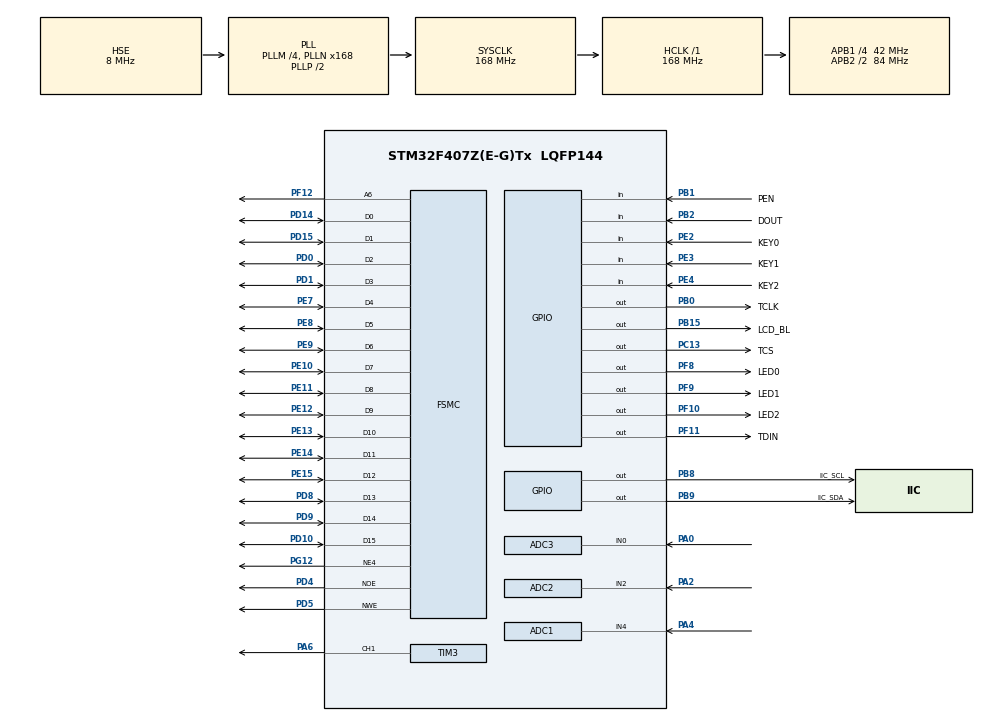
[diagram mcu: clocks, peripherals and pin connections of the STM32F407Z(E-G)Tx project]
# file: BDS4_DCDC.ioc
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ADC1.Channel-19\#ChannelRegularConversion=ADC_CHANNEL_4
ADC1.ClockPrescaler=ADC_CLOCK_SYNC_PCLK_DIV8
ADC1.ContinuousConvMode=ENABLE
ADC1.DMAContinuousRequests=ENABLE
ADC1.EOCSelection=ADC_EOC_SEQ_CONV
ADC1.ExternalTrigConv=ADC_EXTERNALTRIGCONV_T3_TRGO
ADC1.InjNumberOfConversion=0
ADC1.NbrOfConversion=1
ADC1.NbrOfConversionFlag=1
ADC1.Rank-19\#ChannelRegularConversion=1
ADC1.SamplingTime-19\#ChannelRegularConversion=ADC_SAMPLETIME_480CYCLES
ADC1.ScanConvMode=DISABLE
ADC1.master=1
ADC2.Channel-6\#ChannelRegularConversion=ADC_CHANNEL_2
ADC2.ClockPrescaler=ADC_CLOCK_SYNC_PCLK_DIV8
ADC2.DMAContinuousRequests=ENABLE
ADC2.EOCSelection=ADC_EOC_SEQ_CONV
ADC2.ExternalTrigConv=ADC_EXTERNALTRIGCONV_T3_TRGO
ADC2.NbrOfConversionFlag=1
ADC2.Rank-6\#ChannelRegularConversion=1
ADC2.SamplingTime-6\#ChannelRegularConversion=ADC_SAMPLETIME_480CYCLES
ADC3.Channel-9\#ChannelRegularConversion=ADC_CHANNEL_0
ADC3.ClockPrescaler=ADC_CLOCK_SYNC_PCLK_DIV8
ADC3.DMAContinuousRequests=ENABLE
ADC3.EOCSelection=ADC_EOC_SEQ_CONV
ADC3.ExternalTrigConv=ADC_EXTERNALTRIGCONV_T3_TRGO
ADC3.NbrOfConversionFlag=1
ADC3.Rank-9\#ChannelRegularConversion=1
ADC3.SamplingTime-9\#ChannelRegularConversion=ADC_SAMPLETIME_480CYCLES
Dma.ADC1.0.Direction=DMA_PERIPH_TO_MEMORY
Dma.ADC1.0.FIFOMode=DMA_FIFOMODE_DISABLE
Dma.ADC1.0.Instance=DMA2_Stream0
Dma.ADC1.0.MemDataAlignment=DMA_MDATAALIGN_HALFWORD
Dma.ADC1.0.MemInc=DMA_MINC_ENABLE
Dma.ADC1.0.Mode=DMA_CIRCULAR
Dma.ADC1.0.PeriphDataAlignment=DMA_PDATAALIGN_HALFWORD
Dma.ADC1.0.PeriphInc=DMA_PINC_DISABLE
Dma.ADC1.0.Priority=DMA_PRIORITY_LOW
Dma.ADC2.1.Direction=DMA_PERIPH_TO_MEMORY
Dma.ADC2.1.FIFOMode=DMA_FIFOMODE_DISABLE
Dma.ADC2.1.Instance=DMA2_Stream2
Dma.ADC2.1.MemDataAlignment=DMA_MDATAALIGN_HALFWORD
Dma.ADC2.1.MemInc=DMA_MINC_ENABLE
Dma.ADC2.1.Mode=DMA_CIRCULAR
Dma.ADC2.1.PeriphDataAlignment=DMA_PDATAALIGN_HALFWORD
Dma.ADC2.1.PeriphInc=DMA_PINC_DISABLE
Dma.ADC2.1.Priority=DMA_PRIORITY_LOW
Dma.ADC3.2.Direction=DMA_PERIPH_TO_MEMORY
Dma.ADC3.2.FIFOMode=DMA_FIFOMODE_DISABLE
Dma.ADC3.2.Instance=DMA2_Stream1
Dma.ADC3.2.MemDataAlignment=DMA_MDATAALIGN_HALFWORD
Dma.ADC3.2.MemInc=DMA_MINC_ENABLE
Dma.ADC3.2.Mode=DMA_CIRCULAR
Dma.ADC3.2.PeriphDataAlignment=DMA_PDATAALIGN_HALFWORD
Dma.ADC3.2.PeriphInc=DMA_PINC_DISABLE
Dma.ADC3.2.Priority=DMA_PRIORITY_LOW
Dma.Request0=ADC1
Dma.Request1=ADC2
Dma.Request2=ADC3
FSMC.BusTurnAroundDuration1=0
FSMC.DataSetupTime1=60
FSMC.ExtendedAddressSetupTime1=9
FSMC.ExtendedBusTurnAroundDuration1=0
FSMC.ExtendedDataSetupTime1=8
FSMC.ExtendedMode1=FSMC_EXTENDED_MODE_ENABLE
Mcu.Family=STM32F4
Mcu.Name=STM32F407Z(E-G)Tx
Mcu.Package=LQFP144
NVIC.DMA2_Stream0_IRQn=true\:0\:0\:false\:false\:true\:false\:true
NVIC.DMA2_Stream1_IRQn=true\:0\:0\:false\:false\:true\:false\:true
NVIC.DMA2_Stream2_IRQn=true\:0\:0\:false\:false\:true\:false\:true
NVIC.PriorityGroup=NVIC_PRIORITYGROUP_4
PA0-WKUP.Signal=ADCx_IN0
PA13.Mode=Serial_Wire
PA13.Signal=SYS_JTMS-SWDIO
PA14.Mode=Serial_Wire
PA14.Signal=SYS_JTCK-SWCLK
PA2.Signal=ADCx_IN2
PA4.Signal=ADCx_IN4
PA6.Signal=S_TIM3_CH1
PB0.GPIO_Label=TCLK
PB0.GPIO_PuPd=GPIO_PULLUP
PB0.GPIO_Speed=GPIO_SPEED_FREQ_VERY_HIGH
PB0.Signal=GPIO_Output
PB1.GPIO_Label=PEN
PB1.GPIO_PuPd=GPIO_PULLUP
PB1.Signal=GPIO_Input
PB15.GPIO_Label=LCD_BL
PB15.GPIO_PuPd=GPIO_PULLUP
PB15.GPIO_Speed=GPIO_SPEED_FREQ_MEDIUM
PB15.Signal=GPIO_Output
PB2.GPIO_Label=DOUT
PB2.GPIO_PuPd=GPIO_PULLUP
PB2.Signal=GPIO_Input
PB8.GPIO_Label=IIC_SCL
PB8.GPIO_PuPd=GPIO_PULLUP
PB8.GPIO_Speed=GPIO_SPEED_FREQ_VERY_HIGH
PB8.Signal=GPIO_Output
PB9.GPIO_Label=IIC_SDA
PB9.GPIO_PuPd=GPIO_PULLUP
PB9.GPIO_Speed=GPIO_SPEED_FREQ_VERY_HIGH
PB9.Signal=GPIO_Output
PC13-ANTI_TAMP.GPIO_Label=TCS
PC13-ANTI_TAMP.Signal=GPIO_Output
PD0.Signal=FSMC_D2_DA2
PD1.Signal=FSMC_D3_DA3
PD10.Signal=FSMC_D15_DA15
PD14.Signal=FSMC_D0_DA0
PD15.Signal=FSMC_D1_DA1
PD4.Signal=FSMC_NOE
PD5.Signal=FSMC_NWE
PD8.Signal=FSMC_D13_DA13
PD9.Signal=FSMC_D14_DA14
PE10.Signal=FSMC_D7_DA7
PE11.Signal=FSMC_D8_DA8
PE12.Signal=FSMC_D9_DA9
PE13.Signal=FSMC_D10_DA10
PE14.Signal=FSMC_D11_DA11
PE15.Signal=FSMC_D12_DA12
PE2.GPIO_Label=KEY0
PE2.GPIO_PuPd=GPIO_PULLUP
PE2.Signal=GPIO_Input
PE3.GPIO_Label=KEY1
PE3.GPIO_PuPd=GPIO_PULLUP
PE3.Signal=GPIO_Input
PE4.GPIO_Label=KEY2
PE4.GPIO_PuPd=GPIO_PULLUP
PE4.Signal=GPIO_Input
PE7.Signal=FSMC_D4_DA4
PE8.Signal=FSMC_D5_DA5
PE9.Signal=FSMC_D6_DA6
PF10.GPIO_Label=LED2
PF10.GPIO_PuPd=GPIO_PULLUP
PF10.GPIO_Speed=GPIO_SPEED_FREQ_VERY_HIGH
PF10.Signal=GPIO_Output
PF11.GPIO_Label=TDIN
PF11.GPIO_Speed=GPIO_SPEED_FREQ_VERY_HIGH
PF11.Signal=GPIO_Output
PF12.Signal=FSMC_A6
PF8.GPIO_Label=LED0
PF8.GPIO_PuPd=GPIO_PULLUP
PF8.GPIO_Speed=GPIO_SPEED_FREQ_VERY_HIGH
PF8.Signal=GPIO_Output
PF9.GPIO_Label=LED1
PF9.GPIO_PuPd=GPIO_PULLUP
PF9.GPIO_Speed=GPIO_SPEED_FREQ_VERY_HIGH
PF9.Signal=GPIO_Output
PG12.Mode=NorPsramChipSelect4_1
PG12.Signal=FSMC_NE4
PH0-OSC_IN.Mode=HSE-External-Oscillator
PH0-OSC_IN.Signal=RCC_OSC_IN
PH1-OSC_OUT.Mode=HSE-External-Oscillator
PH1-OSC_OUT.Signal=RCC_OSC_OUT
ProjectManager.HeapSize=0x200
ProjectManager.StackSize=0x400
ProjectManager.TargetToolchain=STM32CubeIDE
RCC.48MHZClocksFreq_Value=84000000
RCC.AHBFreq_Value=168000000
RCC.APB1CLKDivider=RCC_HCLK_DIV4
RCC.APB1Freq_Value=42000000
RCC.APB1TimFreq_Value=84000000
RCC.APB2CLKDivider=RCC_HCLK_DIV2
RCC.APB2Freq_Value=84000000
RCC.APB2TimFreq_Value=168000000
RCC.CortexFreq_Value=168000000
RCC.EnbaleCSS=true
RCC.HCLKFreq_Value=168000000
RCC.HSE_VALUE=8000000
RCC.HSI_VALUE=16000000
RCC.LSE_VALUE=32768
RCC.PLLM=4
RCC.PLLN=168
RCC.PLLSourceVirtual=RCC_PLLSOURCE_HSE
RCC.SYSCLKFreq_VALUE=168000000
RCC.SYSCLKSource=RCC_SYSCLKSOURCE_PLLCLK
RCC.VCOOutputFreq_Value=336000000
SH.ADCx_IN0.0=ADC3_IN0,IN0
SH.ADCx_IN2.0=ADC2_IN2,IN2
SH.ADCx_IN4.0=ADC1_IN4,IN4
SH.FSMC_A6.0=FSMC_A6,A6_1
SH.FSMC_D0_DA0.0=FSMC_D0,16b-d1
SH.FSMC_D10_DA10.0=FSMC_D10,16b-d1
SH.FSMC_D11_DA11.0=FSMC_D11,16b-d1
SH.FSMC_D12_DA12.0=FSMC_D12,16b-d1
SH.FSMC_D13_DA13.0=FSMC_D13,16b-d1
SH.FSMC_D14_DA14.0=FSMC_D14,16b-d1
SH.FSMC_D15_DA15.0=FSMC_D15,16b-d1
SH.FSMC_D1_DA1.0=FSMC_D1,16b-d1
SH.FSMC_D2_DA2.0=FSMC_D2,16b-d1
SH.FSMC_D3_DA3.0=FSMC_D3,16b-d1
SH.FSMC_D4_DA4.0=FSMC_D4,16b-d1
SH.FSMC_D5_DA5.0=FSMC_D5,16b-d1
SH.FSMC_D6_DA6.0=FSMC_D6,16b-d1
SH.FSMC_D7_DA7.0=FSMC_D7,16b-d1
SH.FSMC_D8_DA8.0=FSMC_D8,16b-d1
SH.FSMC_D9_DA9.0=FSMC_D9,16b-d1
SH.FSMC_NOE.0=FSMC_NOE,Lcd1
SH.FSMC_NWE.0=FSMC_NWE,Lcd1
SH.S_TIM3_CH1.0=TIM3_CH1,PWM Generation1 CH1
STMicroelectronics.X-CUBE-ALGOBUILD.1.2.1.LibraryCcDSPOoLibraryJjDSPOoLibrary=true
TIM3.AutoReloadPreload=TIM_AUTORELOAD_PRELOAD_DISABLE
TIM3.Channel-PWM\ Generation1\ CH1=TIM_CHANNEL_1
TIM3.OCFastMode_PWM-PWM\ Generation1\ CH1=TIM_OCFAST_ENABLE
TIM3.OCPolarity_1=TIM_OCPOLARITY_HIGH
TIM3.Period=840-1
TIM3.Prescaler=5-1
TIM3.Pulse-PWM\ Generation1\ CH1=420
TIM3.TIM_MasterOutputTrigger=TIM_TRGO_UPDATE
VP_STMicroelectronics.X-CUBE-ALGOBUILD_VS_DSPOoLibraryJjLibrary_1.2.1_1.2.1.Mode=DSPOoLibraryJjLibrary
VP_TIM3_VS_ClockSourceINT.Mode=Internal
board=custom

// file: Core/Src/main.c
/* USER CODE BEGIN Header */
/**
  ******************************************************************************
  * @file           : main.c
  * @brief          : Main program body
  ******************************************************************************
  * @attention
  *
  * <h2><center>&copy; Copyright (c) 2021 STMicroelectronics.
  * All rights reserved.</center></h2>
  *
  * This software component is licensed by ST under BSD 3-Clause license,
  * the "License"; You may not use this file except in compliance with the
  * License. You may obtain a copy of the License at:
  *                        opensource.org/licenses/BSD-3-Clause
  *
  ******************************************************************************
  */
/* USER CODE END Header */
#include "main.h"

/* USER CODE BEGIN Includes */
#include "lcd.h"
#include "obase.h"
/* USER CODE END Includes */

/* USER CODE BEGIN PTD */
enum
{
	Manual=1, AutoCharge, AutoDischarge
} MainMode;

enum
{
	VoltageRegulation=1, CurrentRegulator, Control
} SubMode;

typedef struct PID
{
  float kp;
  float ki;
  float kd;
  float ek;     //当前误差
  float ek_1;   //上一次误�????
  float ek_2;   //上上�????次误�????
  float limit;  //限幅
  float res;  //限幅
}PID;
/* USER CODE END PTD */

/* USER CODE BEGIN PD */
#define ADCTIMES 	100		//ADC采样次数
#define PIDTIME 	1		//ADC采样次数
/* USER CODE END PD */

ADC_HandleTypeDef hadc1;
ADC_HandleTypeDef hadc2;
ADC_HandleTypeDef hadc3;
DMA_HandleTypeDef hdma_adc1;
DMA_HandleTypeDef hdma_adc2;
DMA_HandleTypeDef hdma_adc3;

TIM_HandleTypeDef htim3;

SRAM_HandleTypeDef hsram1;

/* USER CODE BEGIN PV */

float ToV1=8.2;
float ToV2=11.76;
float ToC=1.77;

uint32_t Voltage_Behind=0;
uint32_t Voltage_Front=0;
uint32_t Current=0;

uint16_t Voltage_Behind_DMA[ADCTIMES];
uint16_t Voltage_Front_DMA[ADCTIMES];
uint16_t Current_DMA[ADCTIMES];

float Target=0;
float Encoder=0;

uint32_t t=0;//延迟变化

uint8_t var = 0;//循环变量

uint8_t pressdown = 0;//长按监测

uint16_t Pwm = 420;//pwm计数懂得�???

uint8_t flag = 0;//s初次状�?�指�????

//PID
static PID pid;

/* USER CODE END PV */

void SystemClock_Config(void);
static void MX_GPIO_Init(void);
static void MX_DMA_Init(void);
static void MX_ADC1_Init(void);
static void MX_FSMC_Init(void);
static void MX_TIM3_Init(void);
static void MX_ADC2_Init(void);
static void MX_ADC3_Init(void);
/* USER CODE BEGIN PFP */
void SubDisplay(uint8_t i,uint16_t c);
void MainDisplay(uint8_t i,uint16_t c);
void PwmDisplay(uint16_t dp_pwm,uint16_t c);
void UnDisplay();
void PID_Init(int i);
float PID_Increase(int Encoder,int Target);
/* USER CODE END PFP */

int main(void)
{

  /* MCU Configuration--------------------------------------------------------*/

  /* Reset of all peripherals, Initializes the Flash interface and the Systick. */
  HAL_Init();

  /* Configure the system clock */
  SystemClock_Config();

  /* Initialize all configured peripherals */
  MX_GPIO_Init();
  MX_DMA_Init();
  MX_ADC1_Init();
  MX_FSMC_Init();
  MX_TIM3_Init();
  MX_ADC2_Init();
  MX_ADC3_Init();
  /* USER CODE BEGIN 2 */
  LCD_Init();
  tp_dev.init();
  POINT_COLOR=RED;
  HAL_TIM_PWM_Start(&htim3, TIM_CHANNEL_1);
  HAL_ADC_Start_DMA(&hadc3, (uint32_t*)&Voltage_Front_DMA[0], ADCTIMES);
  HAL_ADC_Start_DMA(&hadc2, (uint32_t*)&Voltage_Behind_DMA[0], ADCTIMES);
  HAL_ADC_Start_DMA(&hadc1, (uint32_t*)&Current_DMA[0], ADCTIMES);

  /* USER CODE END 2 */

  /* Infinite loop */
  /* USER CODE BEGIN WHILE */
  HAL_GPIO_WritePin(LED0_GPIO_Port, LED0_Pin, GPIO_PIN_SET);
  HAL_GPIO_WritePin(LED1_GPIO_Port, LED1_Pin, GPIO_PIN_SET);
  HAL_GPIO_WritePin(LED2_GPIO_Port, LED2_Pin, GPIO_PIN_SET);

  LCD_ShowString(15,90,48,16,16,(uint8_t*)"MAIN^");
  LCD_ShowString(15,135,48,16,16,(uint8_t*)"SUB>");

  MainMode=Manual;
  SubMode=Control;
  MainDisplay(1,GREEN);
  MainDisplay(2,YELLOW);
  MainDisplay(3,YELLOW);
  SubDisplay(1,YELLOW);
  SubDisplay(2,YELLOW);
  PwmDisplay(Pwm,YELLOW);
  LCD_ShowString(15,160,90,16,16,(uint8_t*)">Vf: >To");
  LCD_ShowString(15,200,90,16,16,(uint8_t*)">Vb: >To");
  LCD_ShowString(15,240,90,16,16,(uint8_t*)">C:  >To");
  LCD_ShowString(15,280,90,16,16,(uint8_t*)">Pwm: ");
  LCD_DrawLine(0,155,320,155);

  while (1)
  {
    /* USER CODE END WHILE */

    /* USER CODE BEGIN 3 */

	  //DAC采集

		HAL_Delay(10);
		for (var = 0,Voltage_Front = 0; var < ADCTIMES; ++var) {
				Voltage_Front += Voltage_Front_DMA[var];
		}
			Voltage_Front /= ADCTIMES;
			LCD_ShowNum(90,163,Voltage_Front,4,16);

		HAL_Delay(10);
		for (var = 0,Voltage_Behind = 0; var < ADCTIMES; ++var) {
				Voltage_Behind += Voltage_Behind_DMA[var];
		}
			Voltage_Behind /= ADCTIMES;
			LCD_ShowNum(90,203,Voltage_Behind,4,16);

		HAL_Delay(10);
		for (var = 0,Current = 0; var < ADCTIMES; ++var) {
				Current += Current_DMA[var];
		}
			Current /= ADCTIMES;
			LCD_ShowNum(90,243,Current,4,16);

		//模式切换
	  tp_dev.scan(0);
	  //LCD_DrawPoint(tp_dev.x[0],tp_dev.y[0]);//触控测试
	  if(tp_dev.sta & TP_PRES_DOWN)
	  {

		  if(tp_dev.x[0]>15&&tp_dev.y[0]>15&&tp_dev.x[0]<75&&tp_dev.y[0]<75){
			  MainMode=Manual;
			  SubMode=Control;
			  MainDisplay(1,GREEN);
			  MainDisplay(2,YELLOW);
			  MainDisplay(3,YELLOW);
			  SubDisplay(1,YELLOW);
			  SubDisplay(2,YELLOW);
		  }
		  else if(tp_dev.x[0]>90&&tp_dev.y[0]>15&&tp_dev.x[0]<150&&tp_dev.y[0]<75){
			  MainMode=AutoCharge;
			  flag=0;
			  MainDisplay(1,YELLOW);
			  MainDisplay(2,GREEN);
			  MainDisplay(3,YELLOW);
			  SubDisplay(1,GRAY);
			  SubDisplay(2,GRAY);
		  }
		  else if(tp_dev.x[0]>165&&tp_dev.y[0]>15&&tp_dev.x[0]<225&&tp_dev.y[0]<75){
			  MainMode=AutoDischarge;
			  flag=0;
			  MainDisplay(1,YELLOW);
			  MainDisplay(2,YELLOW);
			  MainDisplay(3,GREEN);
			  SubDisplay(1,GRAY);
			  SubDisplay(2,GRAY);
		  }
		  else if(MainMode==Manual&&pressdown==0&&tp_dev.x[0]>90&&tp_dev.y[0]>90&&tp_dev.x[0]<150&&tp_dev.y[0]<150){
			  if(SubMode==VoltageRegulation)
			  {
				  SubMode=Control;
				  SubDisplay(1,YELLOW);
				  SubDisplay(2,YELLOW);
			  }
			  else
			  {
				  SubMode=VoltageRegulation;
				  flag=0;
				  SubDisplay(1,GREEN);
				  SubDisplay(2,YELLOW);
			  }
		  }
		  else if(MainMode==Manual&&pressdown==0&&tp_dev.x[0]>165&&tp_dev.y[0]>90&&tp_dev.x[0]<225&&tp_dev.y[0]<150){
			  if(SubMode==CurrentRegulator)
			  {
				  SubMode=Control;
				  SubDisplay(1,YELLOW);
				  SubDisplay(2,YELLOW);
			  }
			  else
			  {
				  SubMode=CurrentRegulator;
				  flag=0;
				  SubDisplay(1,YELLOW);
				  SubDisplay(2,GREEN);
			  }
		  }
		  else if(MainMode==Manual&&SubMode==Control&&tp_dev.x[0]>75&&tp_dev.y[0]>265&&tp_dev.x[0]<240&&tp_dev.y[0]<285)
		  {
			  if(tp_dev.x[0]>225) Pwm=840;
			  else if(tp_dev.x[0]<90) Pwm=0;
			  else Pwm = 840.0*((tp_dev.x[0]-90.0)/135.0);
			  TIM3->CCR1 = Pwm;//手动修改pwm占空�????

		  }

		  pressdown=1;

	  }else {pressdown=0;}

	  //Pwm显示
	  if(MainMode==Manual&&SubMode==Control&&(pressdown==0))
	  	{
		  PwmDisplay(Pwm,YELLOW);
		  BACK_COLOR=YELLOW;
		  LCD_ShowNum(100,283,Pwm*100/840,3,16);
		  BACK_COLOR=WHITE;
	  	}
	  else if(MainMode==Manual&&SubMode==Control&&tp_dev.x[0]>75&&tp_dev.y[0]>265&&tp_dev.x[0]<240&&tp_dev.y[0]<285)
	  	 {
		  PwmDisplay(Pwm,GREEN);
		  BACK_COLOR=GREEN;
		  LCD_ShowNum(100,283,Pwm*100/840,3,16);
		  BACK_COLOR=WHITE;
	  	 }
	  else if(MainMode!=Manual||SubMode!=Control)
	  	 {
		  PwmDisplay(Pwm,GRAY);
		  BACK_COLOR=GRAY;
		  LCD_ShowNum(100,283,Pwm*100/840,3,16);
		  BACK_COLOR=WHITE;
	  	 }
	  else{

	  	  }

	  //分模式控�????(PID)
	  if(MainMode==Manual&&SubMode==VoltageRegulation)
	  {
		  if(Current<(((ToC)/3.3)*4096))
		  {
			  PID_Init(1);
			  if(flag==0){Pwm=420;flag=1;}
			  Encoder=Voltage_Behind;
			  Target=(((ToV1/4)/3.3)*4096);
			  Pwm += PID_Increase(Encoder,Target);
			  if(Pwm>835)Pwm=835;
			  else if(Pwm<0)Pwm=0;
			  else{};
			  TIM3->CCR1 = Pwm;//PID改pwm
		  }
		  else
		  {
			  PID_Init(2);
			  if(flag==0){Pwm=420;flag=1;}
			  Encoder=Current;
			  Target=(((ToC)/3.3)*4096);
			  Pwm += PID_Increase(Encoder,Target);
			  if(Pwm>835)Pwm=835;
			  else if(Pwm<0)Pwm=0;
			  else{};
			  TIM3->CCR1 = Pwm;//PID改pwm
		  }
	  }

	  else if(MainMode==Manual&&SubMode==CurrentRegulator)
	  {
		  if(Voltage_Behind>(((ToV1/4)/3.3)*4096))
		  {
			  PID_Init(2);
			  if(flag==0){Pwm=420;flag=1;}
			  Encoder=Current;
			  Target=(((ToC)/3.3)*4096);
			  Pwm += PID_Increase(Encoder,Target);
			  if(Pwm>835)Pwm=835;
			  else if(Pwm<0)Pwm=0;
			  else{};
			  TIM3->CCR1 = Pwm;//PID改pwm
		  }
		  else
		  {

		  }
	  }

	  else if(MainMode==AutoCharge)
	  {
		  if(Current>340)//�??�??
		  {

			  if(Voltage_Behind<(((ToV1/4)/3.3)*4096))//横流
			  {
				  MainDisplay(2,GREEN);
				  PID_Init(2);
				  if(flag==0){Pwm=420;flag=1;}
				  Encoder=Current;
				  Target=(((ToC)/3.3)*4096);
				  Pwm += PID_Increase(Encoder,Target);
				  if(Pwm>835)Pwm=835;
				  else if(Pwm<0)Pwm=0;
				  else{};
				  TIM3->CCR1 = Pwm;//PID改pwm
			  }
			  else if(Voltage_Behind>(((ToV1/4)/3.3)*4096))//恒压
			  {
				  MainDisplay(2,CYAN);
				  PID_Init(1);
				  if(flag==0){Pwm=420;flag=1;}
				  Encoder=Voltage_Behind;
				  Target=(((ToV1/4)/3.3)*4096);
				  Pwm += PID_Increase(Encoder,Target);
				  if(Pwm>835)Pwm=835;
				  else if(Pwm<0)Pwm=0;
				  else{};
				  TIM3->CCR1 = Pwm;//PID改pwm
			  }
		  }
		  else if(Current<340&&Voltage_Behind>(((ToV1/4)/3.3)*4096))
		  {//冲完
			  MainDisplay(2,BLUE);
		  }

	  }

	  else if(MainMode==AutoDischarge)
	  {
		  if(1)
		  {
			  PID_Init(1);
			  if(flag==0){Pwm=840;flag=1;}
			  Encoder=Voltage_Front;
			  Target=(((ToV2/4)/3.3)*4096);
			  Pwm -= PID_Increase(Encoder,Target);
			  if(Pwm>835)Pwm=835;
			  else if(Pwm<420)Pwm=420;
			  else{};
			  TIM3->CCR1 = Pwm;//PID改pwm
		  }
	  }

  }
  /* USER CODE END 3 */
}

void SystemClock_Config(void)
{
  RCC_OscInitTypeDef RCC_OscInitStruct = {0};
  RCC_ClkInitTypeDef RCC_ClkInitStruct = {0};

  /** Configure the main internal regulator output voltage
  */
  __HAL_RCC_PWR_CLK_ENABLE();
  __HAL_PWR_VOLTAGESCALING_CONFIG(PWR_REGULATOR_VOLTAGE_SCALE1);
  /** Initializes the RCC Oscillators according to the specified parameters
  * in the RCC_OscInitTypeDef structure.
  */
  RCC_OscInitStruct.OscillatorType = RCC_OSCILLATORTYPE_HSE;
  RCC_OscInitStruct.HSEState = RCC_HSE_ON;
  RCC_OscInitStruct.PLL.PLLState = RCC_PLL_ON;
  RCC_OscInitStruct.PLL.PLLSource = RCC_PLLSOURCE_HSE;
  RCC_OscInitStruct.PLL.PLLM = 4;
  RCC_OscInitStruct.PLL.PLLN = 168;
  RCC_OscInitStruct.PLL.PLLP = RCC_PLLP_DIV2;
  RCC_OscInitStruct.PLL.PLLQ = 4;
  if (HAL_RCC_OscConfig(&RCC_OscInitStruct) != HAL_OK)
  {
    Error_Handler();
  }
  /** Initializes the CPU, AHB and APB buses clocks
  */
  RCC_ClkInitStruct.ClockType = RCC_CLOCKTYPE_HCLK|RCC_CLOCKTYPE_SYSCLK
                              |RCC_CLOCKTYPE_PCLK1|RCC_CLOCKTYPE_PCLK2;
  RCC_ClkInitStruct.SYSCLKSource = RCC_SYSCLKSOURCE_PLLCLK;
  RCC_ClkInitStruct.AHBCLKDivider = RCC_SYSCLK_DIV1;
  RCC_ClkInitStruct.APB1CLKDivider = RCC_HCLK_DIV4;
  RCC_ClkInitStruct.APB2CLKDivider = RCC_HCLK_DIV2;

  if (HAL_RCC_ClockConfig(&RCC_ClkInitStruct, FLASH_LATENCY_5) != HAL_OK)
  {
    Error_Handler();
  }
  /** Enables the Clock Security System
  */
  HAL_RCC_EnableCSS();
}

static void MX_ADC1_Init(void)
{

  ADC_ChannelConfTypeDef sConfig = {0};

  /** Configure the global features of the ADC (Clock, Resolution, Data Alignment and number of conversion)
  */
  hadc1.Instance = ADC1;
  hadc1.Init.ClockPrescaler = ADC_CLOCK_SYNC_PCLK_DIV8;
  hadc1.Init.Resolution = ADC_RESOLUTION_12B;
  hadc1.Init.ScanConvMode = DISABLE;
  hadc1.Init.ContinuousConvMode = ENABLE;
  hadc1.Init.DiscontinuousConvMode = DISABLE;
  hadc1.Init.ExternalTrigConvEdge = ADC_EXTERNALTRIGCONVEDGE_RISING;
  hadc1.Init.ExternalTrigConv = ADC_EXTERNALTRIGCONV_T3_TRGO;
  hadc1.Init.DataAlign = ADC_DATAALIGN_RIGHT;
  hadc1.Init.NbrOfConversion = 1;
  hadc1.Init.DMAContinuousRequests = ENABLE;
  hadc1.Init.EOCSelection = ADC_EOC_SEQ_CONV;
  if (HAL_ADC_Init(&hadc1) != HAL_OK)
  {
    Error_Handler();
  }
  /** Configure for the selected ADC regular channel its corresponding rank in the sequencer and its sample time.
  */
  sConfig.Channel = ADC_CHANNEL_4;
  sConfig.Rank = 1;
  sConfig.SamplingTime = ADC_SAMPLETIME_480CYCLES;
  if (HAL_ADC_ConfigChannel(&hadc1, &sConfig) != HAL_OK)
  {
    Error_Handler();
  }

}

static void MX_ADC2_Init(void)
{

  ADC_ChannelConfTypeDef sConfig = {0};

  /** Configure the global features of the ADC (Clock, Resolution, Data Alignment and number of conversion)
  */
  hadc2.Instance = ADC2;
  hadc2.Init.ClockPrescaler = ADC_CLOCK_SYNC_PCLK_DIV8;
  hadc2.Init.Resolution = ADC_RESOLUTION_12B;
  hadc2.Init.ScanConvMode = DISABLE;
  hadc2.Init.ContinuousConvMode = ENABLE;
  hadc2.Init.DiscontinuousConvMode = DISABLE;
  hadc2.Init.ExternalTrigConvEdge = ADC_EXTERNALTRIGCONVEDGE_RISING;
  hadc2.Init.ExternalTrigConv = ADC_EXTERNALTRIGCONV_T3_TRGO;
  hadc2.Init.DataAlign = ADC_DATAALIGN_RIGHT;
  hadc2.Init.NbrOfConversion = 1;
  hadc2.Init.DMAContinuousRequests = ENABLE;
  hadc2.Init.EOCSelection = ADC_EOC_SEQ_CONV;
  if (HAL_ADC_Init(&hadc2) != HAL_OK)
  {
    Error_Handler();
  }
  /** Configure for the selected ADC regular channel its corresponding rank in the sequencer and its sample time.
  */
  sConfig.Channel = ADC_CHANNEL_2;
  sConfig.Rank = 1;
  sConfig.SamplingTime = ADC_SAMPLETIME_480CYCLES;
  if (HAL_ADC_ConfigChannel(&hadc2, &sConfig) != HAL_OK)
  {
    Error_Handler();
  }

}

static void MX_ADC3_Init(void)
{

  ADC_ChannelConfTypeDef sConfig = {0};

  /** Configure the global features of the ADC (Clock, Resolution, Data Alignment and number of conversion)
  */
  hadc3.Instance = ADC3;
  hadc3.Init.ClockPrescaler = ADC_CLOCK_SYNC_PCLK_DIV8;
  hadc3.Init.Resolution = ADC_RESOLUTION_12B;
  hadc3.Init.ScanConvMode = DISABLE;
  hadc3.Init.ContinuousConvMode = ENABLE;
  hadc3.Init.DiscontinuousConvMode = DISABLE;
  hadc3.Init.ExternalTrigConvEdge = ADC_EXTERNALTRIGCONVEDGE_RISING;
  hadc3.Init.ExternalTrigConv = ADC_EXTERNALTRIGCONV_T3_TRGO;
  hadc3.Init.DataAlign = ADC_DATAALIGN_RIGHT;
  hadc3.Init.NbrOfConversion = 1;
  hadc3.Init.DMAContinuousRequests = ENABLE;
  hadc3.Init.EOCSelection = ADC_EOC_SEQ_CONV;
  if (HAL_ADC_Init(&hadc3) != HAL_OK)
  {
    Error_Handler();
  }
  /** Configure for the selected ADC regular channel its corresponding rank in the sequencer and its sample time.
  */
  sConfig.Channel = ADC_CHANNEL_0;
  sConfig.Rank = 1;
  sConfig.SamplingTime = ADC_SAMPLETIME_480CYCLES;
  if (HAL_ADC_ConfigChannel(&hadc3, &sConfig) != HAL_OK)
  {
    Error_Handler();
  }

}

static void MX_TIM3_Init(void)
{

  TIM_ClockConfigTypeDef sClockSourceConfig = {0};
  TIM_MasterConfigTypeDef sMasterConfig = {0};
  TIM_OC_InitTypeDef sConfigOC = {0};

  htim3.Instance = TIM3;
  htim3.Init.Prescaler = 5-1;
  htim3.Init.CounterMode = TIM_COUNTERMODE_UP;
  htim3.Init.Period = 840-1;
  htim3.Init.ClockDivision = TIM_CLOCKDIVISION_DIV1;
  htim3.Init.AutoReloadPreload = TIM_AUTORELOAD_PRELOAD_DISABLE;
  if (HAL_TIM_Base_Init(&htim3) != HAL_OK)
  {
    Error_Handler();
  }
  sClockSourceConfig.ClockSource = TIM_CLOCKSOURCE_INTERNAL;
  if (HAL_TIM_ConfigClockSource(&htim3, &sClockSourceConfig) != HAL_OK)
  {
    Error_Handler();
  }
  if (HAL_TIM_PWM_Init(&htim3) != HAL_OK)
  {
    Error_Handler();
  }
  sMasterConfig.MasterOutputTrigger = TIM_TRGO_UPDATE;
  sMasterConfig.MasterSlaveMode = TIM_MASTERSLAVEMODE_DISABLE;
  if (HAL_TIMEx_MasterConfigSynchronization(&htim3, &sMasterConfig) != HAL_OK)
  {
    Error_Handler();
  }
  sConfigOC.OCMode = TIM_OCMODE_PWM1;
  sConfigOC.Pulse = 420;
  sConfigOC.OCPolarity = TIM_OCPOLARITY_HIGH;
  sConfigOC.OCFastMode = TIM_OCFAST_ENABLE;
  if (HAL_TIM_PWM_ConfigChannel(&htim3, &sConfigOC, TIM_CHANNEL_1) != HAL_OK)
  {
    Error_Handler();
  }
  HAL_TIM_MspPostInit(&htim3);

}

static void MX_DMA_Init(void)
{

  /* DMA controller clock enable */
  __HAL_RCC_DMA2_CLK_ENABLE();

  /* DMA interrupt init */
  /* DMA2_Stream0_IRQn interrupt configuration */
  HAL_NVIC_SetPriority(DMA2_Stream0_IRQn, 0, 0);
  HAL_NVIC_EnableIRQ(DMA2_Stream0_IRQn);
  /* DMA2_Stream1_IRQn interrupt configuration */
  HAL_NVIC_SetPriority(DMA2_Stream1_IRQn, 0, 0);
  HAL_NVIC_EnableIRQ(DMA2_Stream1_IRQn);
  /* DMA2_Stream2_IRQn interrupt configuration */
  HAL_NVIC_SetPriority(DMA2_Stream2_IRQn, 0, 0);
  HAL_NVIC_EnableIRQ(DMA2_Stream2_IRQn);

}

static void MX_GPIO_Init(void)
{
  GPIO_InitTypeDef GPIO_InitStruct = {0};

  /* GPIO Ports Clock Enable */
  __HAL_RCC_GPIOE_CLK_ENABLE();
  __HAL_RCC_GPIOC_CLK_ENABLE();
  __HAL_RCC_GPIOF_CLK_ENABLE();
  __HAL_RCC_GPIOH_CLK_ENABLE();
  __HAL_RCC_GPIOA_CLK_ENABLE();
  __HAL_RCC_GPIOB_CLK_ENABLE();
  __HAL_RCC_GPIOD_CLK_ENABLE();
  __HAL_RCC_GPIOG_CLK_ENABLE();

  /*Configure GPIO pin Output Level */
  HAL_GPIO_WritePin(TCS_GPIO_Port, TCS_Pin, GPIO_PIN_RESET);

  /*Configure GPIO pin Output Level */
  HAL_GPIO_WritePin(GPIOF, LED0_Pin|LED1_Pin|LED2_Pin|TDIN_Pin, GPIO_PIN_RESET);

  /*Configure GPIO pin Output Level */
  HAL_GPIO_WritePin(GPIOB, TCLK_Pin|LCD_BL_Pin|IIC_SCL_Pin|IIC_SDA_Pin, GPIO_PIN_RESET);

  /*Configure GPIO pins : KEY0_Pin KEY1_Pin KEY2_Pin */
  GPIO_InitStruct.Pin = KEY0_Pin|KEY1_Pin|KEY2_Pin;
  GPIO_InitStruct.Mode = GPIO_MODE_INPUT;
  GPIO_InitStruct.Pull = GPIO_PULLUP;
  HAL_GPIO_Init(GPIOE, &GPIO_InitStruct);

  /*Configure GPIO pin : TCS_Pin */
  GPIO_InitStruct.Pin = TCS_Pin;
  GPIO_InitStruct.Mode = GPIO_MODE_OUTPUT_PP;
  GPIO_InitStruct.Pull = GPIO_NOPULL;
  GPIO_InitStruct.Speed = GPIO_SPEED_FREQ_LOW;
  HAL_GPIO_Init(TCS_GPIO_Port, &GPIO_InitStruct);

  /*Configure GPIO pins : LED0_Pin LED1_Pin LED2_Pin */
  GPIO_InitStruct.Pin = LED0_Pin|LED1_Pin|LED2_Pin;
  GPIO_InitStruct.Mode = GPIO_MODE_OUTPUT_PP;
  GPIO_InitStruct.Pull = GPIO_PULLUP;
  GPIO_InitStruct.Speed = GPIO_SPEED_FREQ_VERY_HIGH;
  HAL_GPIO_Init(GPIOF, &GPIO_InitStruct);

  /*Configure GPIO pins : TCLK_Pin IIC_SCL_Pin IIC_SDA_Pin */
  GPIO_InitStruct.Pin = TCLK_Pin|IIC_SCL_Pin|IIC_SDA_Pin;
  GPIO_InitStruct.Mode = GPIO_MODE_OUTPUT_PP;
  GPIO_InitStruct.Pull = GPIO_PULLUP;
  GPIO_InitStruct.Speed = GPIO_SPEED_FREQ_VERY_HIGH;
  HAL_GPIO_Init(GPIOB, &GPIO_InitStruct);

  /*Configure GPIO pins : PEN_Pin DOUT_Pin */
  GPIO_InitStruct.Pin = PEN_Pin|DOUT_Pin;
  GPIO_InitStruct.Mode = GPIO_MODE_INPUT;
  GPIO_InitStruct.Pull = GPIO_PULLUP;
  HAL_GPIO_Init(GPIOB, &GPIO_InitStruct);

  /*Configure GPIO pin : TDIN_Pin */
  GPIO_InitStruct.Pin = TDIN_Pin;
  GPIO_InitStruct.Mode = GPIO_MODE_OUTPUT_PP;
  GPIO_InitStruct.Pull = GPIO_NOPULL;
  GPIO_InitStruct.Speed = GPIO_SPEED_FREQ_VERY_HIGH;
  HAL_GPIO_Init(TDIN_GPIO_Port, &GPIO_InitStruct);

  /*Configure GPIO pin : LCD_BL_Pin */
  GPIO_InitStruct.Pin = LCD_BL_Pin;
  GPIO_InitStruct.Mode = GPIO_MODE_OUTPUT_PP;
  GPIO_InitStruct.Pull = GPIO_PULLUP;
  GPIO_InitStruct.Speed = GPIO_SPEED_FREQ_MEDIUM;
  HAL_GPIO_Init(LCD_BL_GPIO_Port, &GPIO_InitStruct);

}

/* FSMC initialization function */
static void MX_FSMC_Init(void)
{

  FSMC_NORSRAM_TimingTypeDef Timing = {0};
  FSMC_NORSRAM_TimingTypeDef ExtTiming = {0};

  /** Perform the SRAM1 memory initialization sequence
  */
  hsram1.Instance = FSMC_NORSRAM_DEVICE;
  hsram1.Extended = FSMC_NORSRAM_EXTENDED_DEVICE;
  /* hsram1.Init */
  hsram1.Init.NSBank = FSMC_NORSRAM_BANK4;
  hsram1.Init.DataAddressMux = FSMC_DATA_ADDRESS_MUX_DISABLE;
  hsram1.Init.MemoryType = FSMC_MEMORY_TYPE_SRAM;
  hsram1.Init.MemoryDataWidth = FSMC_NORSRAM_MEM_BUS_WIDTH_16;
  hsram1.Init.BurstAccessMode = FSMC_BURST_ACCESS_MODE_DISABLE;
  hsram1.Init.WaitSignalPolarity = FSMC_WAIT_SIGNAL_POLARITY_LOW;
  hsram1.Init.WrapMode = FSMC_WRAP_MODE_DISABLE;
  hsram1.Init.WaitSignalActive = FSMC_WAIT_TIMING_BEFORE_WS;
  hsram1.Init.WriteOperation = FSMC_WRITE_OPERATION_ENABLE;
  hsram1.Init.WaitSignal = FSMC_WAIT_SIGNAL_DISABLE;
  hsram1.Init.ExtendedMode = FSMC_EXTENDED_MODE_ENABLE;
  hsram1.Init.AsynchronousWait = FSMC_ASYNCHRONOUS_WAIT_DISABLE;
  hsram1.Init.WriteBurst = FSMC_WRITE_BURST_DISABLE;
  hsram1.Init.PageSize = FSMC_PAGE_SIZE_NONE;
  /* Timing */
  Timing.AddressSetupTime = 15;
  Timing.AddressHoldTime = 15;
  Timing.DataSetupTime = 60;
  Timing.BusTurnAroundDuration = 0;
  Timing.CLKDivision = 16;
  Timing.DataLatency = 17;
  Timing.AccessMode = FSMC_ACCESS_MODE_A;
  /* ExtTiming */
  ExtTiming.AddressSetupTime = 9;
  ExtTiming.AddressHoldTime = 15;
  ExtTiming.DataSetupTime = 8;
  ExtTiming.BusTurnAroundDuration = 0;
  ExtTiming.CLKDivision = 16;
  ExtTiming.DataLatency = 17;
  ExtTiming.AccessMode = FSMC_ACCESS_MODE_A;

  if (HAL_SRAM_Init(&hsram1, &Timing, &ExtTiming) != HAL_OK)
  {
    Error_Handler( );
  }

}

/* USER CODE BEGIN 4 */
void MainDisplay(uint8_t i,uint16_t c)
{
	if(i==1)
	{
	LCD_Fill(15,15,75,75,c);
	}
	else if(i==2)
	{
	LCD_Fill(90,15,150,75,c);
	}
	else if(i==3)
	{
	LCD_Fill(165,15,225,75,c);
	}
	else
	{
	LCD_Fill(15,15,75,75,GRAY);
	LCD_Fill(90,15,150,75,GRAY);
	LCD_Fill(165,15,225,75,GRAY);
	}
	  LCD_ShowString(15,15,48,12,12,(uint8_t*)"MANUAL");
	  LCD_ShowString(90,15,48,12,12,(uint8_t*)"AUTO");
	  LCD_ShowString(90,27,48,12,12,(uint8_t*)"CHARGE");
	  LCD_ShowString(165,15,48,12,12,(uint8_t*)"AUTO");
	  LCD_ShowString(165,27,48,12,12,(uint8_t*)"DISCHARGE");
}

void SubDisplay(uint8_t i,uint16_t c)
{
	if(i==1)
	{
	LCD_Fill(90,90,150,150,c);
	}
	else if(i==2)
	{
	LCD_Fill(165,90,225,150,c);
	}
	else
	{
	LCD_Fill(90,90,150,150,GRAY);
	LCD_Fill(165,90,225,150,GRAY);
	}
	  LCD_ShowString(90,90,48,12,12,(uint8_t*)"VOLTAGE");
	  LCD_ShowString(90,102,48,12,12,(uint8_t*)"REGULATION");
	  LCD_ShowString(165,90,48,12,12,(uint8_t*)"CURRENT");
	  LCD_ShowString(165,102,48,12,12,(uint8_t*)"REGULATOR");
}

void PwmDisplay(uint16_t dp_pwm,uint16_t c)
{
	if(0<=(dp_pwm)&&(dp_pwm)<=840)
	{
		uint16_t pwm_op;
		pwm_op = 90.0+135.0*(dp_pwm/840.0);
		LCD_Fill(90, 280,pwm_op, 300,c);
		LCD_Fill(pwm_op, 280,225, 300,WHITE);
		LCD_DrawRectangle(90,280,225,300);

	}
}

void UnDisplay()
{
		//LCD_Fill(90, 280,pwm_op, 300,c);
		//LCD_Fill(pwm_op, 280,225, 300,WHITE);
}

void PID_Init(int i)
{
	if(i==1)
	{
	    pid.kp = 0.18;
	    pid.ki = 0.045;
	    pid.kd = 0.0001;
	}
	else if(i==2)
	{
		pid.kp = 0.08;
		pid.ki = 0.05;
		pid.kd = 0;
	}

    pid.limit = 100;
    pid.ek = 0;
    pid.ek_1 = 0;
    pid.ek_2 = 0;
}

// 增量式PID控制
float PID_Increase(int Encoder,int Target)
{

	float pwm = 0;
	    pid.ek = Target - Encoder; // 计算当前误差
	    pwm = pid.kp*(pid.ek - pid.ek_1) + pid.ki*pid.ek +pid.kd*(pid.ek - 2*pid.ek_1 + pid.ek_2);   //增量式PID控制�????
	    pid.ek_2 = pid.ek_1; //保存上上�????次的偏差
	    pid.ek_1 = pid.ek;   //保存上一次偏�????

	    if(pwm > pid.limit)
	    {
	      pwm =  pid.limit;
	    }
	    else if(pwm < -pid.limit)
	    {
	      pwm =  -pid.limit;
	    }
	    return pwm;
}

/* USER CODE END 4 */

void Error_Handler(void)
{
  __disable_irq();
  while (1)
  {
  }
}

/************************ (C) COPYRIGHT STMicroelectronics *****END OF FILE****/
